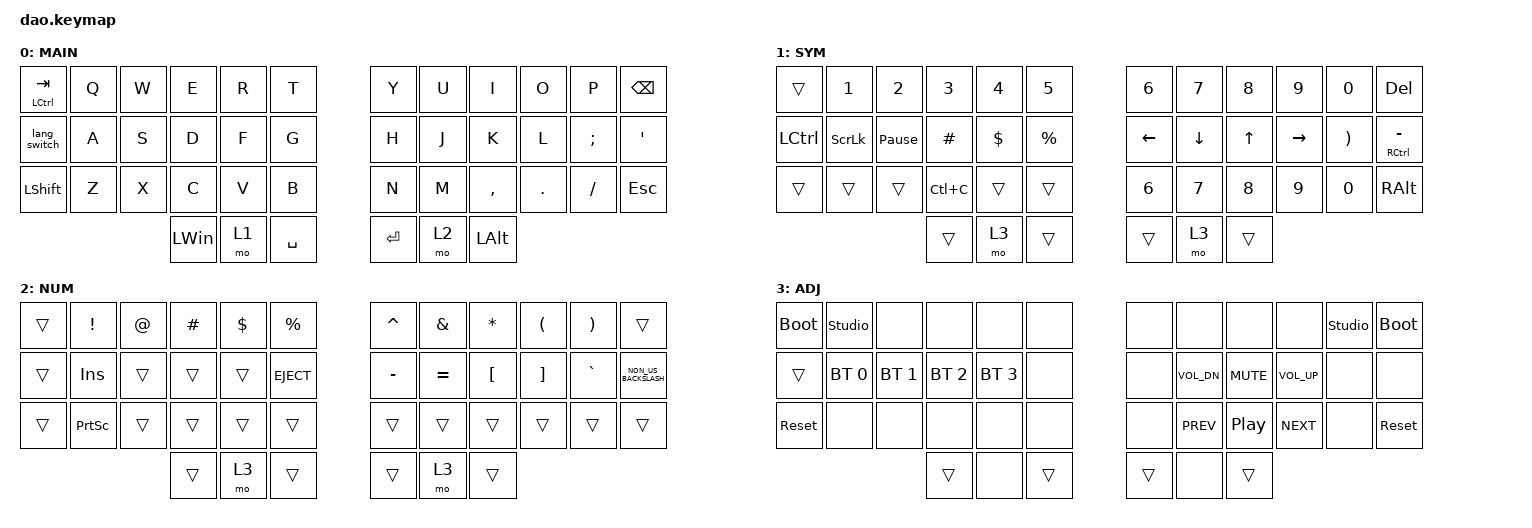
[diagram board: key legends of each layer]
/*
 * Copyright (c) 2021 Rafael Yumagulov
 *
 * SPDX-License-Identifier: MIT
 */

#include <behaviors.dtsi>
#include <dt-bindings/zmk/bt.h>
#include <dt-bindings/zmk/keys.h>

#define DEF 0
#define LWR 1
#define RSE 2
#define ADJ 3

&lt { quick_tap_ms = <200>; };

&mt {
    quick_tap_ms = <100>;
    tapping-term-ms = <100>;
    flavor = "tap-preferred";
};

/ {
    chosen {
        zmk,physical_layout = &dao_crkbd_layout;

        // zmk,physical_layout = &dao_full_layout;
    };
};

/ {
    macros {
        lang_switch: lang_switch {
            compatible = "zmk,behavior-macro";
            #binding-cells = <0>;
            bindings = <&kp LC(SPACE)>;
            label = "LANG_SWITCH";
            wait-ms = <30>;
        };
    };

    keymap {
        compatible = "zmk,keymap";

        default_layer {
            display-name = "MAIN";
            bindings = <
&mt LCTRL TAB   &kp Q  &kp W  &kp E         &kp R  &kp T      &kp Y      &kp U  &kp I         &kp O    &kp P     &kp BACKSPACE
&lang_switch    &kp A  &kp S  &kp D         &kp F  &kp G      &kp H      &kp J  &kp K         &kp L    &kp SEMI  &kp SINGLE_QUOTE
&kp LEFT_SHIFT  &kp Z  &kp X  &kp C         &kp V  &kp B      &kp N      &kp M  &kp COMMA     &kp DOT  &kp FSLH  &kp ESCAPE
                              &kp LEFT_WIN  &mo 1  &kp SPACE  &kp ENTER  &mo 2  &kp LEFT_ALT
            >;
        };

        lower_layer {
            display-name = "SYM";
            bindings = <
&trans     &kp N1          &kp N2           &kp N3     &kp N4    &kp N5     &kp N6    &kp N7    &kp N8        &kp N9     &kp N0    &kp DEL
&kp LCTRL  &kp SCROLLLOCK  &kp PAUSE_BREAK  &kp HASH   &kp DLLR  &kp PRCNT  &kp LEFT  &kp DOWN  &kp UP_ARROW  &kp RIGHT  &kp RPAR  &mt RCTRL MINUS
&trans     &trans          &trans           &kp LC(C)  &trans    &trans     &kp N6    &kp N7    &kp N8        &kp N9     &kp N0    &kp RALT
                                            &trans     &mo 3     &trans     &trans    &mo 3     &trans
            >;
        };

        raise_layer {
            display-name = "NUM";
            bindings = <
&trans  &kp EXCLAMATION  &kp AT_SIGN  &kp HASH  &kp DOLLAR  &kp PERCENT  &kp CARET  &kp AMPERSAND  &kp ASTERISK      &kp LEFT_PARENTHESIS  &kp RIGHT_PARENTHESIS  &trans
&trans  &kp INS          &trans       &trans    &trans      &kp C_EJECT  &kp MINUS  &kp EQUAL      &kp LEFT_BRACKET  &kp RIGHT_BRACKET     &kp GRAVE              &kp NON_US_BACKSLASH
&trans  &kp PRINTSCREEN  &trans       &trans    &trans      &trans       &trans     &trans         &trans            &trans                &trans                 &trans
                                      &trans    &mo 3       &trans       &trans     &mo 3          &trans
            >;
        };

        adjust_layer {
            display-name = "ADJ";
            bindings = <
&bootloader  &studio_unlock  &none         &none         &none         &none   &none   &none         &none             &none         &studio_unlock  &bootloader
&trans       &bt BT_SEL 0    &bt BT_SEL 1  &bt BT_SEL 2  &bt BT_SEL 3  &none   &none   &kp C_VOL_DN  &kp K_MUTE        &kp C_VOL_UP  &none           &none
&sys_reset   &none           &none         &none         &none         &none   &none   &kp C_PREV    &kp C_PLAY_PAUSE  &kp C_NEXT    &none           &sys_reset
                                           &trans        &none         &trans  &trans  &none         &trans
            >;
        };
    };
};
